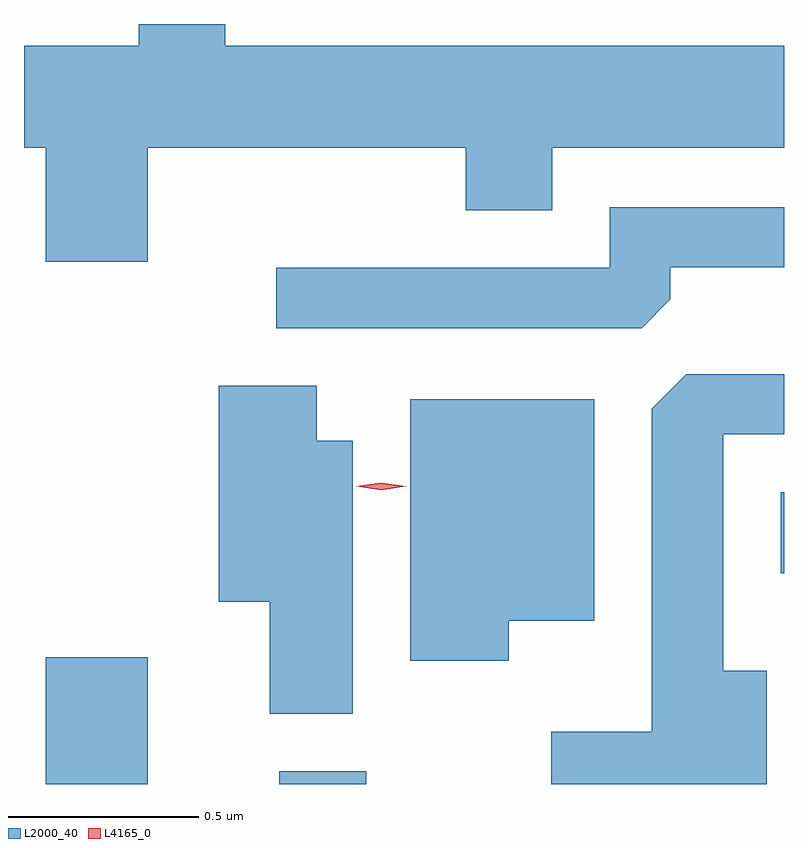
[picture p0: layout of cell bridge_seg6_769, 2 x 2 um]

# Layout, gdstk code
import gdstk
lib = gdstk.Library(unit=1e-6, precision=1e-09)
def R(c, l, rs):  # rectangles x0, y0, x1, y1
    for r in rs: c.add(gdstk.rectangle(r[:2], r[2:], *l))
def P(c, l, *ps):  # polygons
    for p in ps: c.add(gdstk.Polygon(p, *l))
L2000_40 = (2000, 40)
L4165_0 = (4165, 0)

bridge_seg6_769 = lib.new_cell('bridge_seg6_769')
R(bridge_seg6_769, L2000_40, [(554.736,1559.461,555.004,1559.794), (555.351,1559.461,555.579,1559.494), (556.671,1560.016,556.679,1560.229)])
P(bridge_seg6_769, L2000_40, [(555.004,1561.136),(555.841,1561.136),(555.841,1560.971),(556.069,1560.971),(556.069,1561.136),(556.679,1561.136),(556.679,1561.404),(555.209,1561.404),(555.209,1561.461),(554.981,1561.461),(554.981,1561.404),(554.679,1561.404),(554.679,1561.136),(554.736,1561.136),(554.736,1560.836),(555.004,1560.836)],
  [(556.379,1560.737),(556.379,1560.821),(556.679,1560.821),(556.679,1560.979),(556.221,1560.979),(556.221,1560.819),(555.343,1560.819),(555.343,1560.661),(556.304,1560.661)],
  [(556.634,1559.759),(556.519,1559.759),(556.519,1560.381),(556.679,1560.381),(556.679,1560.539),(556.422,1560.539),(556.331,1560.449),(556.331,1559.599),(556.066,1559.599),(556.066,1559.461),(556.634,1559.461)],
  [(555.544,1560.364),(555.449,1560.364),(555.449,1560.509),(555.191,1560.509),(555.191,1559.941),(555.326,1559.941),(555.326,1559.646),(555.544,1559.646)],
  [(555.954,1559.891),(556.179,1559.891),(556.179,1560.474),(555.696,1560.474),(555.696,1559.786),(555.954,1559.786)])
P(bridge_seg6_769, L4165_0, [(555.619,1560.234),(555.553,1560.244),(555.553,1560.245),(555.553,1560.245),(555.619,1560.254),(555.685,1560.245),(555.686,1560.244),(555.685,1560.244)])

lib.write_gds('bridge_seg6_769.gds')
